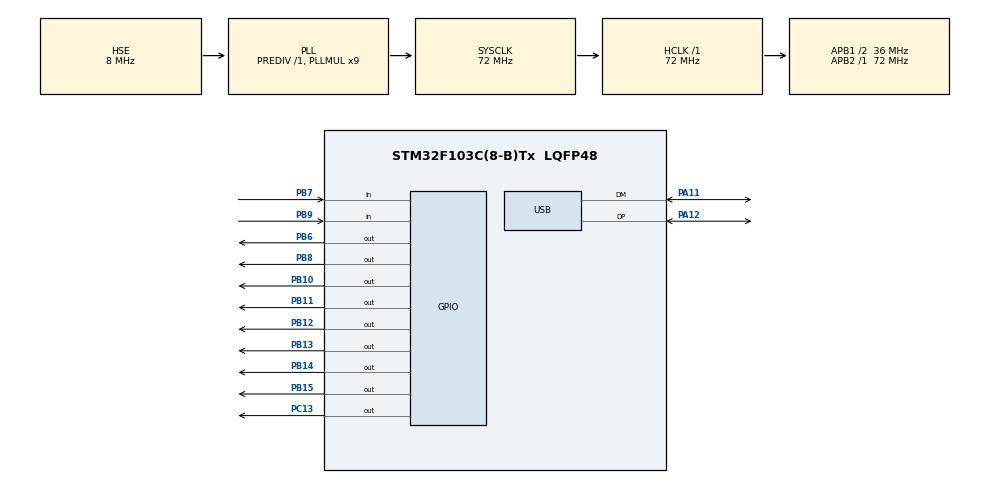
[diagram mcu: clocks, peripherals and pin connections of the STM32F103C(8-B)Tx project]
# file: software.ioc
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FREERTOS.Tasks01=defaultTask,24,128,StartDefaultTask,Default,NULL,Static,defaultTaskBuffer,defaultTaskControlBlock;KeyTask,40,128,KeyTaskFunc,Default,NULL,Static,KeyTaskBuffer,KeyTaskControlBlock;lcdTask,16,192,lcdTaskFunc,Default,NULL,Static,lcdTaskBuffer,lcdTaskControlBlock;calculatorTask,8,512,calculatorTaskFunc,Default,NULL,Static,claculatorTaskBuffer,claculatorTaskControlBlock;controllerTask,24,256,controllerTaskFunc,Default,NULL,Static,controllerTaskBuffer,controllerTaskControlBlock
FREERTOS.configCHECK_FOR_STACK_OVERFLOW=0
FREERTOS.configTIMER_TASK_STACK_DEPTH=128
FREERTOS.configTOTAL_HEAP_SIZE=1024
FREERTOS.configUSE_MALLOC_FAILED_HOOK=1
Mcu.Family=STM32F1
Mcu.Name=STM32F103C(8-B)Tx
Mcu.Package=LQFP48
NVIC.PriorityGroup=NVIC_PRIORITYGROUP_4
NVIC.TIM4_IRQn=true\:15\:0\:false\:false\:true\:false\:false\:true\:true
NVIC.TimeBase=TIM4_IRQn
NVIC.TimeBaseIP=TIM4
NVIC.USB_LP_CAN1_RX0_IRQn=true\:5\:0\:false\:false\:true\:true\:true\:true\:true
PA11.Mode=Device
PA11.Signal=USB_DM
PA12.Mode=Device
PA12.Signal=USB_DP
PA13.Mode=Serial_Wire
PA13.Signal=SYS_JTMS-SWDIO
PA14.Mode=Serial_Wire
PA14.Signal=SYS_JTCK-SWCLK
PB10.Signal=GPIO_Output
PB11.Signal=GPIO_Output
PB12.Signal=GPIO_Output
PB13.PinState=GPIO_PIN_RESET
PB13.Signal=GPIO_Output
PB14.Signal=GPIO_Output
PB15.Signal=GPIO_Output
PB6.PinState=GPIO_PIN_SET
PB6.Signal=GPIO_Output
PB7.Signal=GPIO_Input
PB8.GPIO_Speed=GPIO_SPEED_FREQ_LOW
PB8.PinState=GPIO_PIN_SET
PB8.Signal=GPIO_Output
PB9.Signal=GPIO_Input
PC13-TAMPER-RTC.PinState=GPIO_PIN_SET
PC13-TAMPER-RTC.Signal=GPIO_Output
PC14-OSC32_IN.Mode=LSE-External-Oscillator
PC14-OSC32_IN.Signal=RCC_OSC32_IN
PC15-OSC32_OUT.Mode=LSE-External-Oscillator
PC15-OSC32_OUT.Signal=RCC_OSC32_OUT
PD0-OSC_IN.Mode=HSE-External-Oscillator
PD0-OSC_IN.Signal=RCC_OSC_IN
PD1-OSC_OUT.Mode=HSE-External-Oscillator
PD1-OSC_OUT.Signal=RCC_OSC_OUT
ProjectManager.HeapSize=0x0
ProjectManager.StackSize=0x400
ProjectManager.TargetToolchain=CMake
RCC.AHBFreq_Value=72000000
RCC.APB1CLKDivider=RCC_HCLK_DIV2
RCC.APB1Freq_Value=36000000
RCC.APB1TimFreq_Value=72000000
RCC.APB2Freq_Value=72000000
RCC.APB2TimFreq_Value=72000000
RCC.HCLKFreq_Value=72000000
RCC.PLLMUL=RCC_PLL_MUL9
RCC.PLLSourceVirtual=RCC_PLLSOURCE_HSE
RCC.SYSCLKFreq_VALUE=72000000
RCC.SYSCLKSource=RCC_SYSCLKSOURCE_PLLCLK
RCC.USBFreq_Value=48000000
RCC.USBPrescaler=RCC_USBCLKSOURCE_PLL_DIV1_5
TIM3.Prescaler=71
USB_DEVICE.APP_RX_DATA_SIZE=128
USB_DEVICE.APP_TX_DATA_SIZE=128
USB_DEVICE.CLASS_NAME_FS=CDC
USB_DEVICE.USBD_MAX_STR_DESC_SIZ=64
USB_DEVICE.VirtualMode=Cdc
USB_DEVICE.VirtualModeFS=Cdc_FS
VP_FREERTOS_VS_CMSIS_V2.Mode=CMSIS_V2
VP_SYS_VS_tim4.Mode=TIM4
VP_TIM3_VS_ClockSourceINT.Mode=Internal
VP_USB_DEVICE_VS_USB_DEVICE_CDC_FS.Mode=CDC_FS
board=custom

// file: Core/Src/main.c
/* USER CODE BEGIN Header */
/**
  ******************************************************************************
  * @file           : main.c
  * @brief          : Main program body
  ******************************************************************************
  * @attention
  *
  * Copyright (c) 2026 STMicroelectronics.
  * All rights reserved.
  *
  * This software is licensed under terms that can be found in the LICENSE file
  * in the root directory of this software component.
  * If no LICENSE file comes with this software, it is provided AS-IS.
  *
  ******************************************************************************
  */
/* USER CODE END Header */
#include "main.h"
#include "cmsis_os.h"

/* USER CODE BEGIN Includes */
#include "calculator_app.h"
/*
 * CubeMX still owns the optional USB configuration used by the separate
 * self-test image. Keep calculator regeneration from starting USB.
 */
#define MX_USB_DEVICE_Init() ((void)0)
/* USER CODE END Includes */

typedef StaticTask_t osStaticThreadDef_t;

TIM_HandleTypeDef htim3;

/* Definitions for defaultTask */
osThreadId_t defaultTaskHandle;
uint32_t defaultTaskBuffer[ 128 ];
osStaticThreadDef_t defaultTaskControlBlock;
const osThreadAttr_t defaultTask_attributes = {
  .name = "defaultTask",
  .cb_mem = &defaultTaskControlBlock,
  .cb_size = sizeof(defaultTaskControlBlock),
  .stack_mem = &defaultTaskBuffer[0],
  .stack_size = sizeof(defaultTaskBuffer),
  .priority = (osPriority_t) osPriorityNormal,
};
/* Definitions for KeyTask */
osThreadId_t KeyTaskHandle;
uint32_t KeyTaskBuffer[ 128 ];
osStaticThreadDef_t KeyTaskControlBlock;
const osThreadAttr_t KeyTask_attributes = {
  .name = "KeyTask",
  .cb_mem = &KeyTaskControlBlock,
  .cb_size = sizeof(KeyTaskControlBlock),
  .stack_mem = &KeyTaskBuffer[0],
  .stack_size = sizeof(KeyTaskBuffer),
  .priority = (osPriority_t) osPriorityHigh,
};
/* Definitions for lcdTask */
osThreadId_t lcdTaskHandle;
uint32_t lcdTaskBuffer[ 192 ];
osStaticThreadDef_t lcdTaskControlBlock;
const osThreadAttr_t lcdTask_attributes = {
  .name = "lcdTask",
  .cb_mem = &lcdTaskControlBlock,
  .cb_size = sizeof(lcdTaskControlBlock),
  .stack_mem = &lcdTaskBuffer[0],
  .stack_size = sizeof(lcdTaskBuffer),
  .priority = (osPriority_t) osPriorityBelowNormal,
};
/* Definitions for calculatorTask */
osThreadId_t calculatorTaskHandle;
uint32_t claculatorTaskBuffer[ 512 ];
osStaticThreadDef_t claculatorTaskControlBlock;
const osThreadAttr_t calculatorTask_attributes = {
  .name = "calculatorTask",
  .cb_mem = &claculatorTaskControlBlock,
  .cb_size = sizeof(claculatorTaskControlBlock),
  .stack_mem = &claculatorTaskBuffer[0],
  .stack_size = sizeof(claculatorTaskBuffer),
  .priority = (osPriority_t) osPriorityLow,
};
/* Definitions for controllerTask */
osThreadId_t controllerTaskHandle;
uint32_t controllerTaskBuffer[ 256 ];
osStaticThreadDef_t controllerTaskControlBlock;
const osThreadAttr_t controllerTask_attributes = {
  .name = "controllerTask",
  .cb_mem = &controllerTaskControlBlock,
  .cb_size = sizeof(controllerTaskControlBlock),
  .stack_mem = &controllerTaskBuffer[0],
  .stack_size = sizeof(controllerTaskBuffer),
  .priority = (osPriority_t) osPriorityNormal,
};

void SystemClock_Config(void);
static void MX_GPIO_Init(void);
static void MX_TIM3_Init(void);
void StartDefaultTask(void *argument);
void KeyTaskFunc(void *argument);
void lcdTaskFunc(void *argument);
void calculatorTaskFunc(void *argument);
void controllerTaskFunc(void *argument);

int main(void)
{

  /* MCU Configuration--------------------------------------------------------*/

  /* Reset of all peripherals, Initializes the Flash interface and the Systick. */
  HAL_Init();

  /* Configure the system clock */
  SystemClock_Config();

  /* Initialize all configured peripherals */
  MX_GPIO_Init();
  MX_TIM3_Init();
  /* USER CODE BEGIN 2 */

  if (HAL_TIM_Base_Start(&htim3) != HAL_OK)
  {
    Error_Handler();
  }

  /* USER CODE END 2 */

  /* Init scheduler */
  osKernelInitialize();

  /* USER CODE BEGIN RTOS_QUEUES */
  calculator_app_init();
  /* USER CODE END RTOS_QUEUES */

  /* Create the thread(s) */
  /* creation of defaultTask */
  defaultTaskHandle = osThreadNew(StartDefaultTask, NULL, &defaultTask_attributes);

  /* creation of KeyTask */
  KeyTaskHandle = osThreadNew(KeyTaskFunc, NULL, &KeyTask_attributes);

  /* creation of lcdTask */
  lcdTaskHandle = osThreadNew(lcdTaskFunc, NULL, &lcdTask_attributes);

  /* creation of calculatorTask */
  calculatorTaskHandle = osThreadNew(calculatorTaskFunc, NULL, &calculatorTask_attributes);

  /* creation of controllerTask */
  controllerTaskHandle = osThreadNew(controllerTaskFunc, NULL, &controllerTask_attributes);

  /* Start scheduler */
  osKernelStart();

  /* We should never get here as control is now taken by the scheduler */

  /* Infinite loop */
  while (1)
  {

  }
}

void SystemClock_Config(void)
{
  RCC_OscInitTypeDef RCC_OscInitStruct = {0};
  RCC_ClkInitTypeDef RCC_ClkInitStruct = {0};
  RCC_PeriphCLKInitTypeDef PeriphClkInit = {0};

  /** Initializes the RCC Oscillators according to the specified parameters
  * in the RCC_OscInitTypeDef structure.
  */
  RCC_OscInitStruct.OscillatorType = RCC_OSCILLATORTYPE_HSE;
  RCC_OscInitStruct.HSEState = RCC_HSE_ON;
  RCC_OscInitStruct.HSEPredivValue = RCC_HSE_PREDIV_DIV1;
  RCC_OscInitStruct.HSIState = RCC_HSI_ON;
  RCC_OscInitStruct.PLL.PLLState = RCC_PLL_ON;
  RCC_OscInitStruct.PLL.PLLSource = RCC_PLLSOURCE_HSE;
  RCC_OscInitStruct.PLL.PLLMUL = RCC_PLL_MUL9;
  if (HAL_RCC_OscConfig(&RCC_OscInitStruct) != HAL_OK)
  {
    Error_Handler();
  }

  /** Initializes the CPU, AHB and APB buses clocks
  */
  RCC_ClkInitStruct.ClockType = RCC_CLOCKTYPE_HCLK|RCC_CLOCKTYPE_SYSCLK
                              |RCC_CLOCKTYPE_PCLK1|RCC_CLOCKTYPE_PCLK2;
  RCC_ClkInitStruct.SYSCLKSource = RCC_SYSCLKSOURCE_PLLCLK;
  RCC_ClkInitStruct.AHBCLKDivider = RCC_SYSCLK_DIV1;
  RCC_ClkInitStruct.APB1CLKDivider = RCC_HCLK_DIV2;
  RCC_ClkInitStruct.APB2CLKDivider = RCC_HCLK_DIV1;

  if (HAL_RCC_ClockConfig(&RCC_ClkInitStruct, FLASH_LATENCY_2) != HAL_OK)
  {
    Error_Handler();
  }
  PeriphClkInit.PeriphClockSelection = RCC_PERIPHCLK_USB;
  PeriphClkInit.UsbClockSelection = RCC_USBCLKSOURCE_PLL_DIV1_5;
  if (HAL_RCCEx_PeriphCLKConfig(&PeriphClkInit) != HAL_OK)
  {
    Error_Handler();
  }
}

static void MX_TIM3_Init(void)
{

  TIM_ClockConfigTypeDef sClockSourceConfig = {0};
  TIM_MasterConfigTypeDef sMasterConfig = {0};

  htim3.Instance = TIM3;
  htim3.Init.Prescaler = 71;
  htim3.Init.CounterMode = TIM_COUNTERMODE_UP;
  htim3.Init.Period = 65535;
  htim3.Init.ClockDivision = TIM_CLOCKDIVISION_DIV1;
  htim3.Init.AutoReloadPreload = TIM_AUTORELOAD_PRELOAD_DISABLE;
  if (HAL_TIM_Base_Init(&htim3) != HAL_OK)
  {
    Error_Handler();
  }
  sClockSourceConfig.ClockSource = TIM_CLOCKSOURCE_INTERNAL;
  if (HAL_TIM_ConfigClockSource(&htim3, &sClockSourceConfig) != HAL_OK)
  {
    Error_Handler();
  }
  sMasterConfig.MasterOutputTrigger = TIM_TRGO_RESET;
  sMasterConfig.MasterSlaveMode = TIM_MASTERSLAVEMODE_DISABLE;
  if (HAL_TIMEx_MasterConfigSynchronization(&htim3, &sMasterConfig) != HAL_OK)
  {
    Error_Handler();
  }

}

static void MX_GPIO_Init(void)
{
  GPIO_InitTypeDef GPIO_InitStruct = {0};

  /* GPIO Ports Clock Enable */
  __HAL_RCC_GPIOC_CLK_ENABLE();
  __HAL_RCC_GPIOD_CLK_ENABLE();
  __HAL_RCC_GPIOB_CLK_ENABLE();
  __HAL_RCC_GPIOA_CLK_ENABLE();

  /*Configure GPIO pin Output Level */
  HAL_GPIO_WritePin(GPIOC, GPIO_PIN_13, GPIO_PIN_SET);

  /*Configure GPIO pin Output Level */
  HAL_GPIO_WritePin(GPIOB, GPIO_PIN_10|GPIO_PIN_11|GPIO_PIN_12|GPIO_PIN_13
                          |GPIO_PIN_14|GPIO_PIN_15, GPIO_PIN_RESET);

  /*Configure GPIO pin Output Level */
  HAL_GPIO_WritePin(GPIOB, GPIO_PIN_6|GPIO_PIN_8, GPIO_PIN_SET);

  /*Configure GPIO pin : PC13 */
  GPIO_InitStruct.Pin = GPIO_PIN_13;
  GPIO_InitStruct.Mode = GPIO_MODE_OUTPUT_PP;
  GPIO_InitStruct.Pull = GPIO_NOPULL;
  GPIO_InitStruct.Speed = GPIO_SPEED_FREQ_LOW;
  HAL_GPIO_Init(GPIOC, &GPIO_InitStruct);

  /*Configure GPIO pins : PB10 PB11 PB12 PB13
                           PB14 PB15 PB6 PB8 */
  GPIO_InitStruct.Pin = GPIO_PIN_10|GPIO_PIN_11|GPIO_PIN_12|GPIO_PIN_13
                          |GPIO_PIN_14|GPIO_PIN_15|GPIO_PIN_6|GPIO_PIN_8;
  GPIO_InitStruct.Mode = GPIO_MODE_OUTPUT_PP;
  GPIO_InitStruct.Pull = GPIO_NOPULL;
  GPIO_InitStruct.Speed = GPIO_SPEED_FREQ_LOW;
  HAL_GPIO_Init(GPIOB, &GPIO_InitStruct);

  /*Configure GPIO pins : PB7 PB9 */
  GPIO_InitStruct.Pin = GPIO_PIN_7|GPIO_PIN_9;
  GPIO_InitStruct.Mode = GPIO_MODE_INPUT;
  GPIO_InitStruct.Pull = GPIO_NOPULL;
  HAL_GPIO_Init(GPIOB, &GPIO_InitStruct);

}

void StartDefaultTask(void *argument)
{
  /* USER CODE BEGIN 5 */
  (void)argument;
  calculator_heartbeat_task();
  /* USER CODE END 5 */
}

void KeyTaskFunc(void *argument)
{
  /* USER CODE BEGIN KeyTaskFunc */
  (void)argument;
  calculator_key_task();
  /* USER CODE END KeyTaskFunc */
}

void lcdTaskFunc(void *argument)
{
  /* USER CODE BEGIN lcdTaskFunc */
  (void)argument;
  calculator_lcd_task();
  /* USER CODE END lcdTaskFunc */
}

void calculatorTaskFunc(void *argument)
{
  /* USER CODE BEGIN calculatorTaskFunc */
  (void)argument;
  calculator_compute_task();
  /* USER CODE END calculatorTaskFunc */
}

void controllerTaskFunc(void *argument)
{
  /* USER CODE BEGIN controllerTaskFunc */
  (void)argument;
  calculator_controller_task();
  /* USER CODE END controllerTaskFunc */
}

void HAL_TIM_PeriodElapsedCallback(TIM_HandleTypeDef *htim)
{
  if (htim->Instance == TIM4) {
    HAL_IncTick();
  }
}

void Error_Handler(void)
{
  __disable_irq();
  while (1)
  {
  }
}

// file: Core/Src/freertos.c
/* USER CODE BEGIN Header */
/**
  ******************************************************************************
  * File Name          : freertos.c
  * Description        : Code for freertos applications
  ******************************************************************************
  * @attention
  *
  * Copyright (c) 2026 STMicroelectronics.
  * All rights reserved.
  *
  * This software is licensed under terms that can be found in the LICENSE file
  * in the root directory of this software component.
  * If no LICENSE file comes with this software, it is provided AS-IS.
  *
  ******************************************************************************
  */
/* USER CODE END Header */

#include "FreeRTOS.h"
#include "task.h"
#include "main.h"

/* Hook prototypes */
void vApplicationMallocFailedHook(void);

/* USER CODE BEGIN 5 */
void vApplicationMallocFailedHook(void)
{
  taskDISABLE_INTERRUPTS();
  NVIC_SystemReset();

  for (;;)
  {
  }
}
/* USER CODE END 5 */
